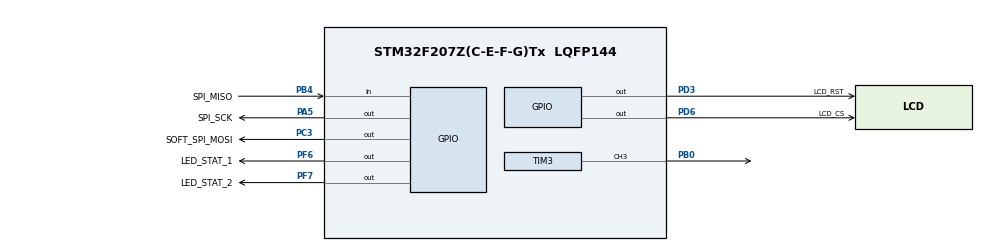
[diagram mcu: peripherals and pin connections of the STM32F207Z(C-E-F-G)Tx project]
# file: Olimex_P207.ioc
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Mcu.Family=STM32F2
Mcu.Name=STM32F207Z(C-E-F-G)Tx
Mcu.Package=LQFP144
NVIC.PriorityGroup=NVIC_PRIORITYGROUP_4
NVIC.TIM2_IRQn=true\:0\:0\:false\:false\:true\:true\:true\:true
PA5.GPIO_Label=SPI_SCK
PA5.Signal=GPIO_Output
PB0.Signal=S_TIM3_CH3
PB4.GPIO_Label=SPI_MISO
PB4.GPIO_PuPd=GPIO_PULLUP
PB4.Signal=GPIO_Input
PC3.GPIO_Label=SOFT_SPI_MOSI
PC3.Signal=GPIO_Output
PD3.GPIO_Label=LCD_RST
PD3.Signal=GPIO_Output
PD6.GPIO_Label=LCD_CS
PD6.Signal=GPIO_Output
PF6.GPIO_Label=LED_STAT_1
PF6.Signal=GPIO_Output
PF7.GPIO_Label=LED_STAT_2
PF7.Signal=GPIO_Output
ProjectManager.HeapSize=0x200
ProjectManager.StackSize=0x400
ProjectManager.TargetToolchain=STM32CubeIDE
RCC.48MHZClocksFreq_Value=60000000
RCC.AHBFreq_Value=120000000
RCC.APB1CLKDivider=RCC_HCLK_DIV4
RCC.APB1Freq_Value=30000000
RCC.APB1TimFreq_Value=60000000
RCC.APB2CLKDivider=RCC_HCLK_DIV2
RCC.APB2Freq_Value=60000000
RCC.APB2TimFreq_Value=120000000
RCC.CortexFreq_Value=120000000
RCC.HCLKFreq_Value=120000000
RCC.HSE_VALUE=25000000
RCC.HSI_VALUE=16000000
RCC.LSE_VALUE=32768
RCC.PLLN=240
RCC.SYSCLKFreq_VALUE=120000000
RCC.SYSCLKSource=RCC_SYSCLKSOURCE_PLLCLK
RCC.VCOOutputFreq_Value=240000000
SH.S_TIM3_CH3.0=TIM3_CH3,PWM Generation3 CH3
TIM2.Channel-Output\ Compare1\ No\ Output=TIM_CHANNEL_1
TIM2.Period=5
TIM2.Prescaler=3
TIM2.Pulse-Output\ Compare1\ No\ Output=2
TIM3.Channel-PWM\ Generation3\ CH3=TIM_CHANNEL_3
TIM3.Period=255
TIM3.Prescaler=119
VP_TIM2_VS_ClockSourceINT.Mode=Internal
VP_TIM2_VS_no_output1.Mode=Output Compare1 No Output
board=custom

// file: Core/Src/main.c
/* USER CODE BEGIN Header */
/**
  ******************************************************************************
  * @file           : main.c
  * @brief          : Main program body
  ******************************************************************************
  * @attention
  *
  * Copyright (c) 2023 STMicroelectronics.
  * All rights reserved.
  *
  * This software is licensed under terms that can be found in the LICENSE file
  * in the root directory of this software component.
  * If no LICENSE file comes with this software, it is provided AS-IS.
  *
  ******************************************************************************
  */
/* USER CODE END Header */
#include "main.h"
#include "tim.h"
#include "gpio.h"

/* USER CODE BEGIN Includes */
#include "lcd.h"
#include "spi_interface.h"

/* USER CODE END Includes */

/* USER CODE BEGIN PV */
uint8_t buf_id[3];

/* USER CODE END PV */

void SystemClock_Config(void);

int main(void)
{

  /* MCU Configuration--------------------------------------------------------*/

  /* Reset of all peripherals, Initializes the Flash interface and the Systick. */
  LL_APB2_GRP1_EnableClock(LL_APB2_GRP1_PERIPH_SYSCFG);
  LL_APB1_GRP1_EnableClock(LL_APB1_GRP1_PERIPH_PWR);

  /* System interrupt init*/
  NVIC_SetPriorityGrouping(NVIC_PRIORITYGROUP_4);

  /* SysTick_IRQn interrupt configuration */
  NVIC_SetPriority(SysTick_IRQn, NVIC_EncodePriority(NVIC_GetPriorityGrouping(),15, 0));

  /* Configure the system clock */
  SystemClock_Config();

  /* Initialize all configured peripherals */
  MX_GPIO_Init();
  MX_TIM3_Init();
  MX_TIM2_Init();
  /* USER CODE BEGIN 2 */
  SysTick_Config(SystemCoreClock/1000);
  TIM7->DIER |= TIM_DIER_UIE;
  TIM7->CR1 |= TIM_CR1_CEN;

  TIM3->CCER |= TIM_CCER_CC3E;
  TIM3->CR1 |= TIM_CR1_CEN;
  TIM3->CCR3 = 200; //Brightness

  //TIM2->DIER |= TIM_DIER_UIE | TIM_DIER_CC1IE;
  TIM2->SR = 0;
  TIM2->CR1 &= ~TIM_CR1_CEN;

  lcd_init();
  GPIOF->BSRR = GPIO_BSRR_BS6; //on led stat 1
  for (uint32_t i=0; i < 50; i++){
	  LCD_set_pixel(i,i, WHITE);
  }
  GPIOF->BSRR = GPIO_BSRR_BS7; //on led stat 2
  LCD_clear(TEST);
  /* USER CODE END 2 */

  /* Infinite loop */
  while (1)
  {
	  spi_handler();
  }
}

void SystemClock_Config(void)
{
  LL_FLASH_SetLatency(LL_FLASH_LATENCY_3);
  while(LL_FLASH_GetLatency()!= LL_FLASH_LATENCY_3)
  {
  }
  LL_RCC_HSI_Enable();

   /* Wait till HSI is ready */
  while(LL_RCC_HSI_IsReady() != 1)
  {

  }
  LL_RCC_HSI_SetCalibTrimming(16);
  LL_RCC_PLL_ConfigDomain_SYS(LL_RCC_PLLSOURCE_HSI, LL_RCC_PLLM_DIV_16, 240, LL_RCC_PLLP_DIV_2);
  LL_RCC_PLL_Enable();

   /* Wait till PLL is ready */
  while(LL_RCC_PLL_IsReady() != 1)
  {

  }
  LL_RCC_SetAHBPrescaler(LL_RCC_SYSCLK_DIV_1);
  LL_RCC_SetAPB1Prescaler(LL_RCC_APB1_DIV_4);
  LL_RCC_SetAPB2Prescaler(LL_RCC_APB2_DIV_2);
  LL_RCC_SetSysClkSource(LL_RCC_SYS_CLKSOURCE_PLL);

   /* Wait till System clock is ready */
  while(LL_RCC_GetSysClkSource() != LL_RCC_SYS_CLKSOURCE_STATUS_PLL)
  {

  }
  LL_Init1msTick(120000000);
  LL_SetSystemCoreClock(120000000);
}

void Error_Handler(void)
{
  __disable_irq();
  while (1)
  {
  }
}
